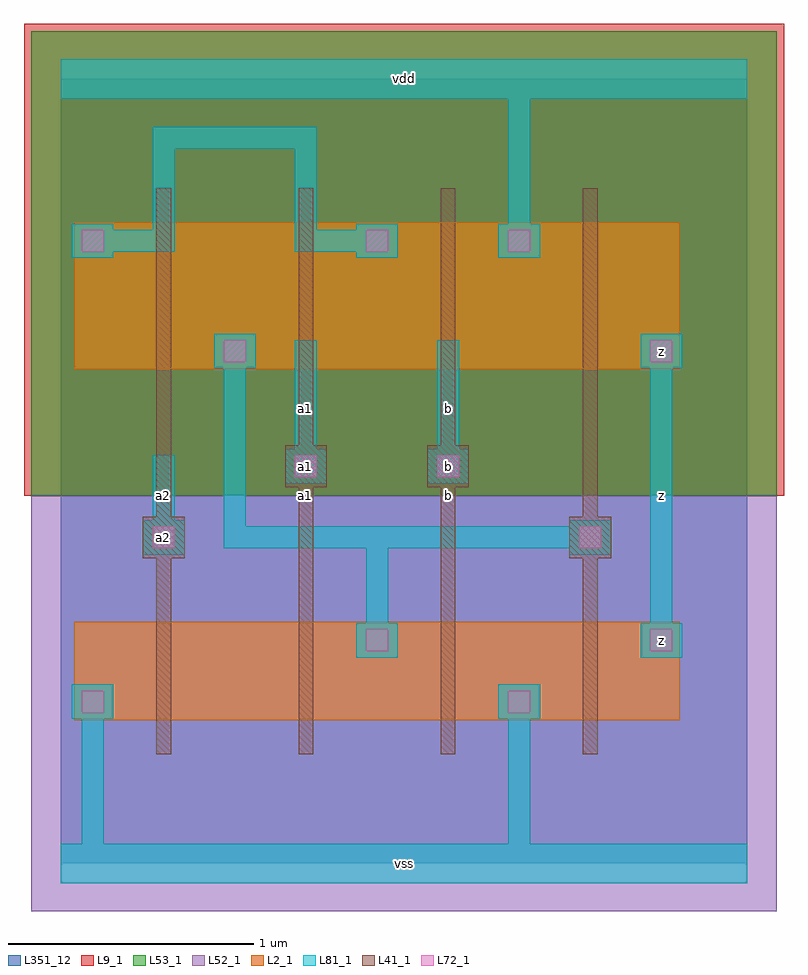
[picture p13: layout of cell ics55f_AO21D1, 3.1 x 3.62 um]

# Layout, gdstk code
import gdstk
lib = gdstk.Library(unit=1e-6, precision=1e-09)
def R(c, l, rs):  # rectangles x0, y0, x1, y1
    for r in rs: c.add(gdstk.rectangle(r[:2], r[2:], *l))
def A(c, l, x, y, w, h, nx, ny, dx, dy):  # array of equal rectangles
    R(c, l, [(x+i*dx, y+j*dy, x+i*dx+w, y+j*dy+h) for i in range(nx) for j in range(ny)])
def P(c, l, *ps):  # polygons
    for p in ps: c.add(gdstk.Polygon(p, *l))
L0_0 = (0, 0)
L2_1 = (2, 1)
L9_1 = (9, 1)
L41_1 = (41, 1)
L52_1 = (52, 1)
L53_1 = (53, 1)
L72_1 = (72, 1)
L81_1 = (81, 1)
L351_12 = (351, 12)

ics55f_ao21d1 = lib.new_cell('ics55f_AO21D1')
A(ics55f_ao21d1, L2_1, 0.055, 0.585, 0.73, 0.4, 4, 1, 0.58, 0)
A(ics55f_ao21d1, L2_1, 0.055, 2.015, 0.73, 0.6, 4, 1, 0.58, 0)
R(ics55f_ao21d1, L2_1, [(0.055,0.585,0.205,0.735), (1.795,0.585,1.945,0.735), (1.215,0.835,1.365,0.985), (2.375,0.835,2.525,0.985), (0.635,2.015,0.785,2.165), (2.375,2.015,2.525,2.165), (0.055,2.465,0.205,2.615), (1.215,2.465,1.365,2.615), (1.795,2.465,1.945,2.615)])
R(ics55f_ao21d1, L9_1, [(-0.15,1.5,2.95,3.425)])
A(ics55f_ao21d1, L41_1, 0.39, 0.445, 0.06, 0.68, 4, 1, 0.58, 0)
A(ics55f_ao21d1, L41_1, 0.39, 0.88, 0.06, 1.24, 3, 1, 0.58, 0)
A(ics55f_ao21d1, L41_1, 0.39, 1.875, 0.06, 0.88, 4, 1, 0.58, 0)
R(ics55f_ao21d1, L41_1, [(2.13,0.88,2.19,1.36), (0.335,1.245,0.505,1.415), (2.075,1.245,2.245,1.415), (2.13,1.3,2.19,2.12), (0.915,1.535,1.085,1.705), (1.495,1.535,1.665,1.705)])
R(ics55f_ao21d1, L52_1, [(-0.12,-0.195,2.92,1.5)])
R(ics55f_ao21d1, L53_1, [(-0.12,1.5,2.92,3.395)])
R(ics55f_ao21d1, L72_1, [(0.085,0.615,0.175,0.705), (1.825,0.615,1.915,0.705), (1.245,0.865,1.335,0.955), (2.405,0.865,2.495,0.955), (0.375,1.285,0.465,1.375), (2.115,1.285,2.205,1.375), (0.955,1.575,1.045,1.665), (1.535,1.575,1.625,1.665), (0.665,2.045,0.755,2.135), (2.405,2.045,2.495,2.135), (0.085,2.495,0.175,2.585), (1.245,2.495,1.335,2.585), (1.825,2.495,1.915,2.585)])
P(ics55f_ao21d1, L81_1, [(0,-0.08),(0,0.08),(0.085,0.08),(0.085,0.59),(0.045,0.59),(0.045,0.73),(0.215,0.73),(0.215,0.59),(0.175,0.59),(0.175,0.08),(1.825,0.08),(1.825,0.59),(1.785,0.59),(1.785,0.73),(1.955,0.73),(1.955,0.59),(1.915,0.59),(1.915,0.08),(2.8,0.08),(2.8,-0.08)],
  [(0.335,1.26),(0.335,1.4),(0.375,1.4),(0.375,1.665),(0.465,1.665),(0.465,1.4),(0.505,1.4),(0.505,1.26)],
  [(0.915,1.55),(0.915,1.69),(0.955,1.69),(0.955,2.135),(1.045,2.135),(1.045,1.69),(1.085,1.69),(1.085,1.55)],
  [(1.495,1.55),(1.495,1.69),(1.535,1.69),(1.535,2.135),(1.625,2.135),(1.625,1.69),(1.665,1.69),(1.665,1.55)],
  [(1.205,0.84),(1.205,0.98),(1.245,0.98),(1.245,1.285),(0.665,1.285),(0.665,2.02),(0.625,2.02),(0.625,2.16),(0.795,2.16),(0.795,2.02),(0.755,2.02),(0.755,1.375),(2.075,1.375),(2.075,1.4),(2.245,1.4),(2.245,1.26),(2.075,1.26),(2.075,1.285),(1.335,1.285),(1.335,0.98),(1.375,0.98),(1.375,0.84)],
  [(2.365,0.84),(2.365,0.98),(2.405,0.98),(2.405,2.02),(2.365,2.02),(2.365,2.16),(2.535,2.16),(2.535,2.02),(2.495,2.02),(2.495,0.98),(2.535,0.98),(2.535,0.84)],
  [(0.045,2.47),(0.045,2.61),(0.215,2.61),(0.215,2.585),(0.375,2.585),(0.375,3.005),(1.045,3.005),(1.045,2.585),(1.205,2.585),(1.205,2.61),(1.375,2.61),(1.375,2.47),(1.205,2.47),(1.205,2.495),(0.955,2.495),(0.955,2.915),(0.465,2.915),(0.465,2.495),(0.215,2.495),(0.215,2.47)],
  [(1.785,2.47),(1.785,2.61),(1.825,2.61),(1.825,3.12),(0,3.12),(0,3.28),(2.8,3.28),(2.8,3.12),(1.915,3.12),(1.915,2.61),(1.955,2.61),(1.955,2.47)])
R(ics55f_ao21d1, L351_12, [(0,0,2.8,3.2)])
ics55f_ao21d1.add(gdstk.FlexPath([(0.045,0.24),(2.535,0.24)], 0, ends="flush", simple_path=True, layer=0, datatype=0))  # L0_0
ics55f_ao21d1.add(gdstk.FlexPath([(0.045,0.66),(2.535,0.66)], 0, ends="flush", simple_path=True, layer=0, datatype=0))  # L0_0
ics55f_ao21d1.add(gdstk.FlexPath([(0.045,0.91),(2.535,0.91)], 0, ends="flush", simple_path=True, layer=0, datatype=0))  # L0_0
ics55f_ao21d1.add(gdstk.FlexPath([(0.045,1.33),(2.535,1.33)], 0, ends="flush", simple_path=True, layer=0, datatype=0))  # L0_0
ics55f_ao21d1.add(gdstk.FlexPath([(0.045,1.62),(2.535,1.62)], 0, ends="flush", simple_path=True, layer=0, datatype=0))  # L0_0
ics55f_ao21d1.add(gdstk.FlexPath([(0.045,2.09),(2.535,2.09)], 0, ends="flush", simple_path=True, layer=0, datatype=0))  # L0_0
ics55f_ao21d1.add(gdstk.FlexPath([(0.045,2.54),(2.535,2.54)], 0, ends="flush", simple_path=True, layer=0, datatype=0))  # L0_0
ics55f_ao21d1.add(gdstk.FlexPath([(0.045,2.96),(2.535,2.96)], 0, ends="flush", simple_path=True, layer=0, datatype=0))  # L0_0
ics55f_ao21d1.add(gdstk.FlexPath([(0.13,0.03),(0.13,3.17)], 0, ends="flush", simple_path=True, layer=0, datatype=0))  # L0_0
ics55f_ao21d1.add(gdstk.FlexPath([(0.42,0.03),(0.42,3.17)], 0, ends="flush", simple_path=True, layer=0, datatype=0))  # L0_0
ics55f_ao21d1.add(gdstk.FlexPath([(0.71,0.03),(0.71,3.17)], 0, ends="flush", simple_path=True, layer=0, datatype=0))  # L0_0
ics55f_ao21d1.add(gdstk.FlexPath([(1,0.03),(1,3.17)], 0, ends="flush", simple_path=True, layer=0, datatype=0))  # L0_0
ics55f_ao21d1.add(gdstk.FlexPath([(1.29,0.03),(1.29,3.17)], 0, ends="flush", simple_path=True, layer=0, datatype=0))  # L0_0
ics55f_ao21d1.add(gdstk.FlexPath([(1.58,0.03),(1.58,3.17)], 0, ends="flush", simple_path=True, layer=0, datatype=0))  # L0_0
ics55f_ao21d1.add(gdstk.FlexPath([(1.87,0.03),(1.87,3.17)], 0, ends="flush", simple_path=True, layer=0, datatype=0))  # L0_0
ics55f_ao21d1.add(gdstk.FlexPath([(2.16,0.03),(2.16,3.17)], 0, ends="flush", simple_path=True, layer=0, datatype=0))  # L0_0
ics55f_ao21d1.add(gdstk.FlexPath([(2.45,0.03),(2.45,3.17)], 0, ends="flush", simple_path=True, layer=0, datatype=0))  # L0_0
ics55f_ao21d1.add(gdstk.Label('z', (2.45,0.91), layer=2, texttype=1))
ics55f_ao21d1.add(gdstk.Label('z', (2.45,2.09), layer=2, texttype=1))
ics55f_ao21d1.add(gdstk.Label('a2', (0.42,1.5), layer=41, texttype=1))
ics55f_ao21d1.add(gdstk.Label('a2', (0.42,1.33), layer=41, texttype=1))
ics55f_ao21d1.add(gdstk.Label('a1', (1,1.5), layer=41, texttype=1))
ics55f_ao21d1.add(gdstk.Label('a1', (1,1.62), layer=41, texttype=1))
ics55f_ao21d1.add(gdstk.Label('b', (1.58,1.5), layer=41, texttype=1))
ics55f_ao21d1.add(gdstk.Label('b', (1.58,1.62), layer=41, texttype=1))
ics55f_ao21d1.add(gdstk.Label('a2', (0.42,1.33), layer=72, texttype=1))
ics55f_ao21d1.add(gdstk.Label('a1', (1,1.62), layer=72, texttype=1))
ics55f_ao21d1.add(gdstk.Label('b', (1.58,1.62), layer=72, texttype=1))
ics55f_ao21d1.add(gdstk.Label('z', (2.45,0.91), layer=72, texttype=1))
ics55f_ao21d1.add(gdstk.Label('z', (2.45,2.09), layer=72, texttype=1))
ics55f_ao21d1.add(gdstk.Label('a2', (0.42,1.33), layer=81, texttype=6))
ics55f_ao21d1.add(gdstk.Label('a2', (0.42,1.475), layer=81, texttype=6))
ics55f_ao21d1.add(gdstk.Label('a1', (1,1.62), layer=81, texttype=6))
ics55f_ao21d1.add(gdstk.Label('a1', (1,1.855), layer=81, texttype=6))
ics55f_ao21d1.add(gdstk.Label('b', (1.58,1.62), layer=81, texttype=6))
ics55f_ao21d1.add(gdstk.Label('b', (1.58,1.855), layer=81, texttype=6))
ics55f_ao21d1.add(gdstk.Label('z', (2.45,0.91), layer=81, texttype=6))
ics55f_ao21d1.add(gdstk.Label('z', (2.45,2.09), layer=81, texttype=6))
ics55f_ao21d1.add(gdstk.Label('z', (2.45,1.5), layer=81, texttype=6))
ics55f_ao21d1.add(gdstk.Label('vss', (1.4,0), layer=81, texttype=6))
ics55f_ao21d1.add(gdstk.Label('vdd', (1.4,3.2), layer=81, texttype=6))

lib.write_gds('ics55f_AO21D1.gds')
